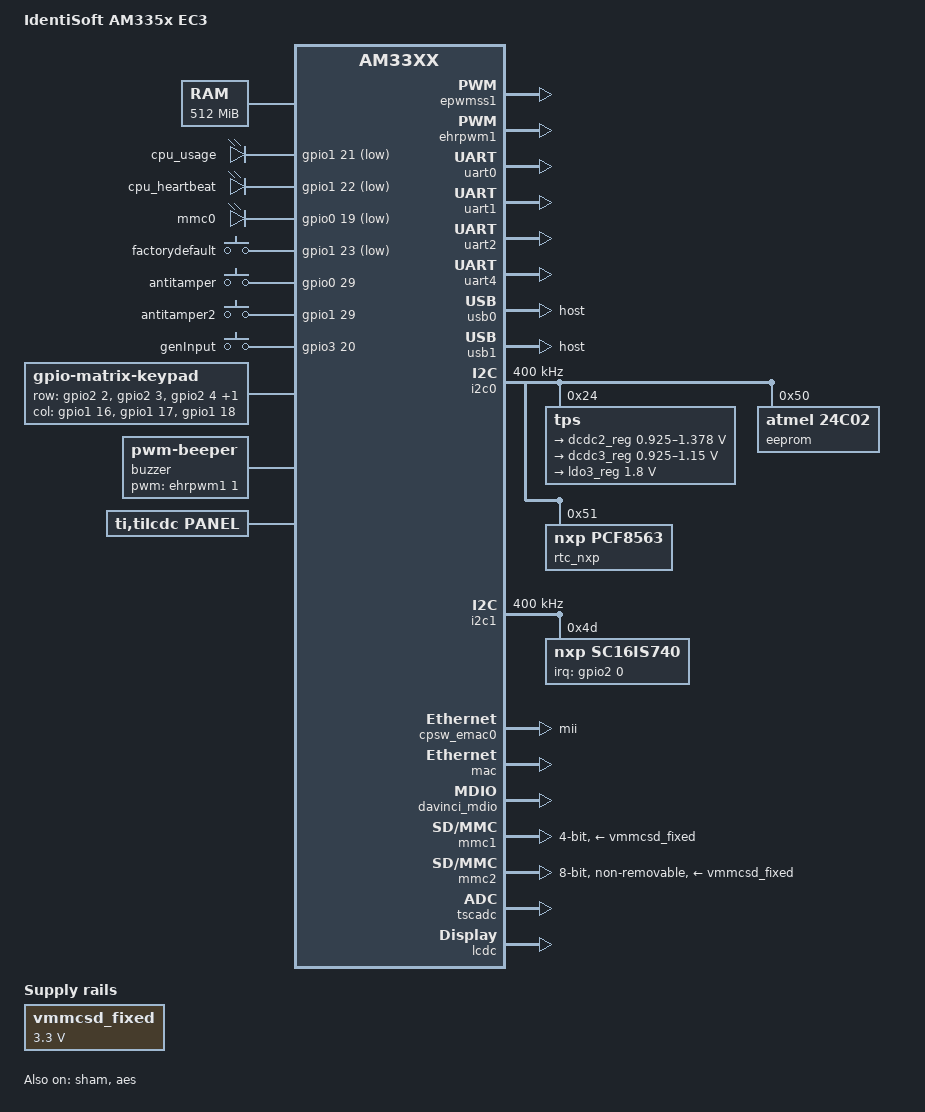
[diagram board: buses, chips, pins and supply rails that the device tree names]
/*
 * Copyright (C) 2022 Impro Technologies http://www.impro.net/
 *
 * This program is free software; you can redistribute it and/or modify
 * it under the terms of the GNU General Public License version 2 as
 * published by the Free Software Foundation.
 */
/dts-v1/;

#include "am33xx.dtsi"
#include <dt-bindings/interrupt-controller/irq.h>

/ {
	model = "IdentiSoft AM335x EC3";
	compatible = "ti,am33xx";

	aliases {
		mmcblk0 = &mmc1;
		mmcblk1 = &mmc2;
	};

	cpus {
		cpu@0 {
			cpu0-supply = <&dcdc2_reg>;
		};
	};

	memory@80000000 {
		device_type = "memory";
		reg = <0x80000000 0x20000000>; /* 512 MB */
	};

	leds {
		compatible = "gpio-leds";
		pinctrl-names = "default";
		pinctrl-0 = <&user_leds_pin>;

		cpu_usage {
			gpios = <&gpio1 21 GPIO_ACTIVE_LOW>;
			linux,default-trigger = "cpu0";
			default-state = "off";
		};

		cpu_heartbeat {
			gpios = <&gpio1 22 GPIO_ACTIVE_LOW>;
			linux,default-trigger = "heartbeat";
			default-state = "off";
		};

		mmc0 {
			gpios = <&gpio0 19 GPIO_ACTIVE_LOW>;
			linux,default-trigger = "mmc0";
			default-state = "off";
		};
	};

	factoryDefault {
		compatible = "gpio-keys";
		pinctrl-names = "default";
		pinctrl-0 = <&button1_pin>;

		factorydefault {
			gpios = <&gpio1 23 GPIO_ACTIVE_LOW>;
			linux,code = <70>;
			debounce-interval = <5>; // was 200
		};
	};

	antiTamper {
		compatible = "gpio-keys";
		pinctrl-names = "default";
		pinctrl-0 = <&button2_pin>;

		antitamper {
			gpios = <&gpio0 29 GPIO_ACTIVE_HIGH>;
			linux,code = <65>;
			debounce-interval = <5>; // was 200
		};
	};

	antiTamper2 {
		compatible = "gpio-keys";
		pinctrl-names = "default";
		pinctrl-0 = <&button3_pin>;

		antitamper2 {
			gpios = <&gpio1 29 GPIO_ACTIVE_HIGH>;
			linux,code = <66>;
			debounce-interval = <5>; // was 200
		};
	};

	genInput {
		compatible = "gpio-keys";
		pinctrl-names = "default";
		pinctrl-0 = <&button4_pin>;

		genInput {
			gpios = <&gpio3 20 GPIO_ACTIVE_HIGH>;
			linux,code = <73>;
			debounce-interval = <5>; // was 200
		};
	};


	keypad {
		compatible = "gpio-matrix-keypad";
		linux,no-autorepeat;
		debounce-delay-ms = <10>;
		col-scan-delay-us = <20>;
		/* Pull down resistors*/
		row-gpios = <&gpio2 2 GPIO_ACTIVE_HIGH    /* Row 1 */
				         &gpio2 3 GPIO_ACTIVE_HIGH    /* Row 2 */
				         &gpio2 4 GPIO_ACTIVE_HIGH	  /* Row 3 */
				         &gpio2 5 GPIO_ACTIVE_HIGH>;  /* Row 4 */

		col-gpios = <&gpio1 16 GPIO_ACTIVE_HIGH   /* Col 1 */
				         &gpio1 17 GPIO_ACTIVE_HIGH	  /* Col 2 */
								 &gpio1 18 GPIO_ACTIVE_HIGH>; /* Col 3 */
								 /* 0xRRCCKKKK*/
		linux,keymap = <0x00000002		/* 1 */
										0x00010003		/* 2 */
										0x00020004		/* 3 */
										0x01000005		/* 4 */
										0x01010006		/* 5 */
										0x01020007		/* 6 */
										0x02000008		/* 7 */
										0x02010009		/* 8 */
										0x0202000A		/* 9 */
										0x0300000E		/* * (BACKSPACE)*/
										0x0301000B		/* 0 */
										0x0302001C>; 	/* # (ENTER)*/
	};

	buzzer {
		compatible = "pwm-beeper";
		pinctrl-names = "default";
		pinctrl-0 = <&buzzer_pin>;
		pwms = <&ehrpwm1 1 250000 0>;
	};

	panel {
		compatible = "ti,tilcdc,panel";
		pinctrl-names = "default";
		pinctrl-0 = <&lcd_pins>;
		status = "okay";
		panel-info {
			ac-bias           = <255>;
			ac-bias-intrpt    = <0>;
			dma-burst-sz      = <16>;
			bpp               = <24>;
			fdd               = <0x80>;
			sync-edge         = <0>;
			sync-ctrl         = <1>;
			raster-order      = <0>;
			fifo-th           = <0>;
			invert-pxl-clk;
		};
		/* HX8257A */
		display-timings {
      480x272 {
				hactive         = <480>;
				vactive         = <272>;
				hback-porch     = <2>;
				hfront-porch    = <2>;
				hsync-len       = <41>;
				vback-porch     = <2>;
				vfront-porch    = <2>;
				vsync-len       = <10>;
/*				clock-frequency = <12000000>; */
				clock-frequency = <9000000>; /* 9MHz should start up pll, which can then be enabled to jitter the frequency */
				hsync-active    = <0>;
				vsync-active    = <0>;
			};
		};
	};

	bandgap {
		reg = <0x44e10448 0x4 0x44e1044C 0x4>;
		compatible = "ti,omap4430-bandgap";
	};

	vmmcsd_fixed: fixedregulator@0 {
		compatible = "regulator-fixed";
		regulator-name = "vmmcsd_fixed";
		regulator-min-microvolt = <3300000>;
		regulator-max-microvolt = <3300000>;
	};
};

&am33xx_pinmux {
	pinctrl-names = "default";
	pinctrl-0 = <&extcon_pins>;
	status = "okay";

	user_leds_pin: pinmux_user_leds_pin {
		pinctrl-single,pins = <
			AM33XX_PADCONF(AM335X_PIN_GPMC_A5, PIN_OUTPUT_PULLUP, MUX_MODE7)
			AM33XX_PADCONF(AM335X_PIN_GPMC_A6, PIN_OUTPUT_PULLDOWN, MUX_MODE7)
			AM33XX_PADCONF(AM335X_PIN_XDMA_EVENT_INTR0, PIN_OUTPUT_PULLUP, MUX_MODE7)
		>;
	};


	button1_pin: pinmux_button1_pin {
		pinctrl-single,pins = <
            AM33XX_PADCONF(AM335X_PIN_GPMC_A7, PIN_INPUT_PULLUP, MUX_MODE7)	/* gpmc_a7.gpio1_23 */
		>;
	};

	button2_pin: pinmux_button2_pin {
		pinctrl-single,pins = <
			AM33XX_PADCONF(AM335X_PIN_RMII1_REF_CLK, PIN_INPUT_PULLUP, MUX_MODE7)	/* rmii2_refclk.gpio0_29 */
		>;
	};

	button3_pin: pinmux_button3_pin {
		pinctrl-single,pins = <
			AM33XX_PADCONF(AM335X_PIN_GPMC_CSN0, PIN_INPUT_PULLUP, MUX_MODE7)	/* gpmc_csn0.gpio1_29 */
		>;
	};

	button4_pin: pinmux_button4_pin {
		pinctrl-single,pins = <
			AM33XX_PADCONF(AM335X_PIN_MCASP0_AXR1, PIN_INPUT_PULLUP, MUX_MODE7)
		>;
	};

	buzzer_pin: pinmux_buzzer_pin {
		pinctrl-single,pins = <
			AM33XX_PADCONF(AM335X_PIN_GPMC_A3, PIN_OUTPUT_PULLUP, MUX_MODE6)	/* gpmc_a3.ehrpwm1b */
		>;
	};

	lcd_pins: pinmux_lcd_pins {
		pinctrl-single,pins = <
			AM33XX_PADCONF(AM335X_PIN_GPMC_AD8, PIN_OUTPUT, MUX_MODE1)	/* gpmc_ad8.lcd_data23 */
			AM33XX_PADCONF(AM335X_PIN_GPMC_AD9, PIN_OUTPUT, MUX_MODE1)	/* gpmc_ad9.lcd_data22 */
			AM33XX_PADCONF(AM335X_PIN_GPMC_AD10, PIN_OUTPUT, MUX_MODE1)	/* gpmc_ad10.lcd_data21 */
			AM33XX_PADCONF(AM335X_PIN_GPMC_AD11, PIN_OUTPUT, MUX_MODE1)	/* gpmc_ad11.lcd_data20 */
			AM33XX_PADCONF(AM335X_PIN_GPMC_AD12, PIN_OUTPUT, MUX_MODE1)	/* gpmc_ad12.lcd_data19 */
			AM33XX_PADCONF(AM335X_PIN_GPMC_AD13, PIN_OUTPUT, MUX_MODE1)	/* gpmc_ad13.lcd_data18 */
			AM33XX_PADCONF(AM335X_PIN_GPMC_AD14, PIN_OUTPUT, MUX_MODE1)	/* gpmc_ad14.lcd_data17 */
			AM33XX_PADCONF(AM335X_PIN_GPMC_AD15, PIN_OUTPUT, MUX_MODE1)	/* gpmc_ad15.lcd_data16 */
			AM33XX_PADCONF(AM335X_PIN_LCD_DATA0, PIN_OUTPUT, MUX_MODE0)
			AM33XX_PADCONF(AM335X_PIN_LCD_DATA1, PIN_OUTPUT, MUX_MODE0)
			AM33XX_PADCONF(AM335X_PIN_LCD_DATA2, PIN_OUTPUT, MUX_MODE0)
			AM33XX_PADCONF(AM335X_PIN_LCD_DATA3, PIN_OUTPUT, MUX_MODE0)
			AM33XX_PADCONF(AM335X_PIN_LCD_DATA4, PIN_OUTPUT, MUX_MODE0)
			AM33XX_PADCONF(AM335X_PIN_LCD_DATA5, PIN_OUTPUT, MUX_MODE0)
			AM33XX_PADCONF(AM335X_PIN_LCD_DATA6, PIN_OUTPUT, MUX_MODE0)
			AM33XX_PADCONF(AM335X_PIN_LCD_DATA7, PIN_OUTPUT, MUX_MODE0)
			AM33XX_PADCONF(AM335X_PIN_LCD_DATA8, PIN_OUTPUT, MUX_MODE0)
			AM33XX_PADCONF(AM335X_PIN_LCD_DATA9, PIN_OUTPUT, MUX_MODE0)
			AM33XX_PADCONF(AM335X_PIN_LCD_DATA10, PIN_OUTPUT, MUX_MODE0)
			AM33XX_PADCONF(AM335X_PIN_LCD_DATA11, PIN_OUTPUT, MUX_MODE0)
			AM33XX_PADCONF(AM335X_PIN_LCD_DATA12, PIN_OUTPUT, MUX_MODE0)
			AM33XX_PADCONF(AM335X_PIN_LCD_DATA13, PIN_OUTPUT, MUX_MODE0)
			AM33XX_PADCONF(AM335X_PIN_LCD_DATA14, PIN_OUTPUT, MUX_MODE0)
			AM33XX_PADCONF(AM335X_PIN_LCD_DATA15, PIN_OUTPUT, MUX_MODE0)
			AM33XX_PADCONF(AM335X_PIN_LCD_VSYNC, PIN_OUTPUT, MUX_MODE0)
			AM33XX_PADCONF(AM335X_PIN_LCD_HSYNC, PIN_OUTPUT, MUX_MODE0)
			AM33XX_PADCONF(AM335X_PIN_LCD_PCLK, PIN_OUTPUT, MUX_MODE0)
			AM33XX_PADCONF(AM335X_PIN_LCD_AC_BIAS_EN, PIN_OUTPUT, MUX_MODE0)
		>;
	};

	extcon_pins: pinmux_extcon_pins { /* External Connectors */
		pinctrl-single,pins = <
			AM33XX_PADCONF(AM335X_PIN_GPMC_A0, PIN_INPUT_PULLUP, MUX_MODE7)	/* gpmc_a0.rgmii2_tctl */
			AM33XX_PADCONF(AM335X_PIN_GPMC_A1, PIN_INPUT_PULLUP, MUX_MODE7)	/* gpmc_a1.rgmii2_rctl */
			AM33XX_PADCONF(AM335X_PIN_GPMC_A2, PIN_INPUT_PULLUP, MUX_MODE7)	/* gpmc_a2.rgmii2_td3 */
			AM33XX_PADCONF(AM335X_PIN_GPMC_A4, PIN_INPUT_PULLUP, MUX_MODE7)	/* gpmc_a4.rgmii2_td1 */
			AM33XX_PADCONF(AM335X_PIN_GPMC_A8, PIN_INPUT_PULLUP, MUX_MODE7)	/* gpmc_a8.rgmii2_rd3 */
			AM33XX_PADCONF(AM335X_PIN_GPMC_A9, PIN_INPUT_PULLUP, MUX_MODE7)	/* gpmc_a9.rgmii2_rd2 */
			AM33XX_PADCONF(AM335X_PIN_GPMC_A10, PIN_INPUT_PULLUP, MUX_MODE7)	/* gpmc_a10.rgmii2_rd1 */
			AM33XX_PADCONF(AM335X_PIN_GPMC_A11, PIN_INPUT_PULLUP, MUX_MODE7)	/* gpmc_a11.rgmii2_rd0 */

			AM33XX_PADCONF(AM335X_PIN_GPMC_BEN1, PIN_INPUT_PULLUP, MUX_MODE7)

			AM33XX_PADCONF(AM335X_PIN_GPMC_ADVN_ALE, PIN_INPUT_PULLUP, MUX_MODE7)		/* gpmc_advn_ale.gpio2_2 */
			AM33XX_PADCONF(AM335X_PIN_GPMC_OEN_REN, PIN_INPUT_PULLUP, MUX_MODE7)		/* gpmc_oen_ren.gpio2_3 */
            AM33XX_PADCONF(AM335X_PIN_GPMC_WEN, PIN_INPUT_PULLUP, MUX_MODE7)
			AM33XX_PADCONF(AM335X_PIN_GPMC_BEN0_CLE, PIN_INPUT_PULLUP, MUX_MODE7)		/* gpmc_ben0_cle.gpio2_5 */
			AM33XX_PADCONF(AM335X_PIN_ECAP0_IN_PWM0_OUT, PIN_INPUT_PULLUP, MUX_MODE7)	/* ecap0_in_pwm0_out.uart3_txd */
			AM33XX_PADCONF(AM335X_PIN_UART1_CTSN, PIN_INPUT_PULLUP, MUX_MODE7)		/* uart1_ctsn.d_can0_tx */
			AM33XX_PADCONF(AM335X_PIN_UART1_RTSN, PIN_INPUT_PULLUP, MUX_MODE7)		/* uart1_rtsn.d_can0_rx */
			AM33XX_PADCONF(AM335X_PIN_MCASP0_ACLKX, PIN_INPUT_PULLUP, MUX_MODE7)		/* mcasp0_aclkx.gpio3_14 *
			AM33XX_PADCONF(AM335X_PIN_MCASP0_FSX, PIN_INPUT_PULLUP, MUX_MODE7)		/* mcasp0_fsx.gpio3_15 */
			AM33XX_PADCONF(AM335X_PIN_MCASP0_AXR0, PIN_INPUT_PULLUP, MUX_MODE7)		/* mcasp0_axr0.spi1_d1 */
			AM33XX_PADCONF(AM335X_PIN_MCASP0_AHCLKR, PIN_INPUT_PULLUP, MUX_MODE7)		/* mcasp0_ahclkr.spi1_cs0 */
			AM33XX_PADCONF(AM335X_PIN_MCASP0_ACLKR, PIN_INPUT_PULLUP, MUX_MODE7)		/* SoundPA_en - mcasp0_aclkr.gpio3_18 */
			AM33XX_PADCONF(AM335X_PIN_MCASP0_FSR, PIN_INPUT_PULLUP, MUX_MODE7)

			//0x1a8	(PIN_INPUT_PULLUP | MUX_MODE7)	/* mcasp0_axr1.gpio3_20	(mcasp0_axr1) */
			//AM33XX_PADCONF(AM335X_PIN_MCASP0_AXR1, PIN_INPUT_PULLUP, MUX_MODE7)

			AM33XX_PADCONF(AM335X_PIN_MCASP0_AHCLKX, PIN_INPUT_PULLUP, MUX_MODE7)		/* mcasp0_ahcklx.gpio3_21 */
		>;
	};

	i2c0_pins: pinmux_i2c0_pins {
		pinctrl-single,pins = <
            AM33XX_PADCONF(AM335X_PIN_I2C0_SDA, PIN_INPUT_PULLUP, MUX_MODE0)	/* i2c0_sda.i2c0_sda */
            AM33XX_PADCONF(AM335X_PIN_I2C0_SCL, PIN_INPUT_PULLUP, MUX_MODE0)	/* i2c0_scl.i2c0_scl */
		>;
	};

	i2c1_pins: pinmux_i2c1_pins {
		pinctrl-single,pins = <
            AM33XX_PADCONF(AM335X_PIN_SPI0_D1, PIN_INPUT_PULLUP, MUX_MODE2)	    /* spi0_d1.i2c1_sda */
            AM33XX_PADCONF(AM335X_PIN_SPI0_CS0, PIN_INPUT_PULLUP, MUX_MODE2)	/* spi0_cs0.i2c1_scl */
		>;
	};

	uart0_pins: pinmux_uart0_pins {
		pinctrl-single,pins = <
            AM33XX_PADCONF(AM335X_PIN_UART0_RXD, PIN_INPUT_PULLUP, MUX_MODE0)
            AM33XX_PADCONF(AM335X_PIN_UART0_TXD, PIN_OUTPUT_PULLDOWN, MUX_MODE0)
		>;
	};

	uart1_pins: pinmux_uart1_pins {
		pinctrl-single,pins = <
            AM33XX_PADCONF(AM335X_PIN_UART1_RXD, PIN_INPUT_PULLUP, MUX_MODE0)
            AM33XX_PADCONF(AM335X_PIN_UART1_TXD, PIN_OUTPUT_PULLDOWN, MUX_MODE0)
		>;
	};

	uart2_pins: pinmux_uart2_pins {
		pinctrl-single,pins = <
            AM33XX_PADCONF(AM335X_PIN_SPI0_SCLK, PIN_INPUT_PULLUP, MUX_MODE1)		/* spi0_sclk.uart2_rxd */
            AM33XX_PADCONF(AM335X_PIN_SPI0_D0, PIN_OUTPUT_PULLDOWN, MUX_MODE1)		/* spi0_d0.uart2_txd */
		>;
	};

	uart4_pins: pinmux_uart4_pins {
		pinctrl-single,pins = <
            AM33XX_PADCONF(AM335X_PIN_GPMC_WAIT0, PIN_INPUT_PULLUP, MUX_MODE6)	/* gpmc_wait0.uart4_rxd */
            AM33XX_PADCONF(AM335X_PIN_GPMC_WPN, PIN_OUTPUT_PULLDOWN, MUX_MODE6)	/* gpmc_wpn.uart4_txd */
		>;
	};


	cpsw_default: cpsw_default {
		pinctrl-single,pins = <
			/* Slave 1 */
			AM33XX_PADCONF(AM335X_PIN_MII1_COL, PIN_INPUT_PULLUP, MUX_MODE0)
			AM33XX_PADCONF(AM335X_PIN_MII1_CRS, PIN_INPUT_PULLUP, MUX_MODE0)
			AM33XX_PADCONF(AM335X_PIN_MII1_RX_ER, PIN_INPUT_PULLUP, MUX_MODE0)
			AM33XX_PADCONF(AM335X_PIN_MII1_TX_EN, PIN_OUTPUT_PULLDOWN, MUX_MODE0)
			AM33XX_PADCONF(AM335X_PIN_MII1_RX_DV, PIN_INPUT_PULLUP, MUX_MODE0)
			AM33XX_PADCONF(AM335X_PIN_MII1_TXD3, PIN_OUTPUT_PULLDOWN, MUX_MODE0)
			AM33XX_PADCONF(AM335X_PIN_MII1_TXD2, PIN_OUTPUT_PULLDOWN, MUX_MODE0)
			AM33XX_PADCONF(AM335X_PIN_MII1_TXD1, PIN_OUTPUT_PULLDOWN, MUX_MODE0)
			AM33XX_PADCONF(AM335X_PIN_MII1_TXD0, PIN_OUTPUT_PULLDOWN, MUX_MODE0)
			AM33XX_PADCONF(AM335X_PIN_MII1_TX_CLK, PIN_INPUT_PULLUP, MUX_MODE0)
			AM33XX_PADCONF(AM335X_PIN_MII1_RX_CLK, PIN_INPUT_PULLUP, MUX_MODE0)
			AM33XX_PADCONF(AM335X_PIN_MII1_RXD3, PIN_INPUT_PULLUP, MUX_MODE0)
			AM33XX_PADCONF(AM335X_PIN_MII1_RXD2, PIN_INPUT_PULLUP, MUX_MODE0)
			AM33XX_PADCONF(AM335X_PIN_MII1_RXD1, PIN_INPUT_PULLUP, MUX_MODE0)
			AM33XX_PADCONF(AM335X_PIN_MII1_RXD0, PIN_INPUT_PULLUP, MUX_MODE0)
		>;
	};

	cpsw_sleep: cpsw_sleep {
		pinctrl-single,pins = <
			/* Slave 1 reset value */
			AM33XX_PADCONF(AM335X_PIN_MII1_COL, PIN_INPUT_PULLDOWN, MUX_MODE7)
			AM33XX_PADCONF(AM335X_PIN_MII1_CRS, PIN_INPUT_PULLDOWN, MUX_MODE7)
			AM33XX_PADCONF(AM335X_PIN_MII1_RX_ER, PIN_INPUT_PULLDOWN, MUX_MODE7)
			AM33XX_PADCONF(AM335X_PIN_MII1_TX_EN, PIN_INPUT_PULLDOWN, MUX_MODE7)
			AM33XX_PADCONF(AM335X_PIN_MII1_RX_DV, PIN_INPUT_PULLDOWN, MUX_MODE7)
			AM33XX_PADCONF(AM335X_PIN_MII1_TXD3, PIN_INPUT_PULLDOWN, MUX_MODE7)
			AM33XX_PADCONF(AM335X_PIN_MII1_TXD2, PIN_INPUT_PULLDOWN, MUX_MODE7)
			AM33XX_PADCONF(AM335X_PIN_MII1_TXD1, PIN_INPUT_PULLDOWN, MUX_MODE7)
			AM33XX_PADCONF(AM335X_PIN_MII1_TXD0, PIN_INPUT_PULLDOWN, MUX_MODE7)
			AM33XX_PADCONF(AM335X_PIN_MII1_TX_CLK, PIN_INPUT_PULLDOWN, MUX_MODE7)
			AM33XX_PADCONF(AM335X_PIN_MII1_RX_CLK, PIN_INPUT_PULLDOWN, MUX_MODE7)
			AM33XX_PADCONF(AM335X_PIN_MII1_RXD3, PIN_INPUT_PULLDOWN, MUX_MODE7)
			AM33XX_PADCONF(AM335X_PIN_MII1_RXD2, PIN_INPUT_PULLDOWN, MUX_MODE7)
			AM33XX_PADCONF(AM335X_PIN_MII1_RXD1, PIN_INPUT_PULLDOWN, MUX_MODE7)
			AM33XX_PADCONF(AM335X_PIN_MII1_RXD0, PIN_INPUT_PULLDOWN, MUX_MODE7)
		>;
	};

	davinci_mdio_default: davinci_mdio_default {
		pinctrl-single,pins = <
			/* MDIO */
            AM33XX_PADCONF(AM335X_PIN_MDIO, PIN_INPUT_PULLUP | SLEWCTRL_FAST, MUX_MODE0)	/* mdio_data.mdio_data */
            AM33XX_PADCONF(AM335X_PIN_MDC, PIN_OUTPUT_PULLUP, MUX_MODE0)			        /* mdio_clk.mdio_clk   */
		>;
	};

	davinci_mdio_sleep: davinci_mdio_sleep {
		pinctrl-single,pins = <
			/* MDIO reset value */
            AM33XX_PADCONF(AM335X_PIN_MDIO, PIN_INPUT_PULLDOWN, MUX_MODE7)	/* mdio_data.mdio_data */
            AM33XX_PADCONF(AM335X_PIN_MDC, PIN_INPUT_PULLDOWN, MUX_MODE7)   /* mdio_clk.mdio_clk   */
		>;
	};

	mmc1_pins: pinmux_mmc1_pins {
		pinctrl-single,pins = <
            AM33XX_PADCONF(AM335X_PIN_SPI0_CS1, PIN_INPUT, MUX_MODE7) 	/* spi0_cs1.gpio0_6 */
			AM33XX_PADCONF(AM335X_PIN_MMC0_DAT0, PIN_INPUT_PULLUP, MUX_MODE0)
			AM33XX_PADCONF(AM335X_PIN_MMC0_DAT1, PIN_INPUT_PULLUP, MUX_MODE0)
			AM33XX_PADCONF(AM335X_PIN_MMC0_DAT2, PIN_INPUT_PULLUP, MUX_MODE0)
			AM33XX_PADCONF(AM335X_PIN_MMC0_DAT3, PIN_INPUT_PULLUP, MUX_MODE0)
			AM33XX_PADCONF(AM335X_PIN_MMC0_CMD, PIN_INPUT_PULLUP, MUX_MODE0)
			AM33XX_PADCONF(AM335X_PIN_MMC0_CLK, PIN_INPUT_PULLUP, MUX_MODE0)
		>;
	};

	emmc_pins: pinmux_emmc_pins {
		pinctrl-single,pins = <
			AM33XX_PADCONF(AM335X_PIN_GPMC_AD0, PIN_INPUT_PULLUP, MUX_MODE1) /* gpmc_ad0.mmc1_dat0 */
			AM33XX_PADCONF(AM335X_PIN_GPMC_AD1, PIN_INPUT_PULLUP, MUX_MODE1) /* gpmc_ad1.mmc1_dat1 */
			AM33XX_PADCONF(AM335X_PIN_GPMC_AD2, PIN_INPUT_PULLUP, MUX_MODE1) /* gpmc_ad2.mmc1_dat2 */
			AM33XX_PADCONF(AM335X_PIN_GPMC_AD3, PIN_INPUT_PULLUP, MUX_MODE1) /* gpmc_ad3.mmc1_dat3 */
			AM33XX_PADCONF(AM335X_PIN_GPMC_AD4, PIN_INPUT_PULLUP, MUX_MODE1) /* gpmc_ad4.mmc1_dat4 */
			AM33XX_PADCONF(AM335X_PIN_GPMC_AD5, PIN_INPUT_PULLUP, MUX_MODE1) /* gpmc_ad5.mmc1_dat5 */
			AM33XX_PADCONF(AM335X_PIN_GPMC_AD6, PIN_INPUT_PULLUP, MUX_MODE1) /* gpmc_ad6.mmc1_dat6 */
			AM33XX_PADCONF(AM335X_PIN_GPMC_AD7, PIN_INPUT_PULLUP, MUX_MODE1) /* gpmc_ad7.mmc1_dat7 */
			AM33XX_PADCONF(AM335X_PIN_GPMC_CSN1, PIN_INPUT_PULLUP, MUX_MODE2) /* gpmc_csn1.mmc1_clk */
			AM33XX_PADCONF(AM335X_PIN_GPMC_CSN2, PIN_INPUT_PULLUP, MUX_MODE2) /* gpmc_csn2.mmc1_cmd */
		>;
	};
};

&sham {
	status = "okay";
};

&aes {
	status = "okay";
};

&prcm_clocks {
	sc16is7xx_clk: sc16is7xx_clk {
		compatible = "fixed-clock";
		#clock-cells = <0>;
		clock-frequency = <11059200>;
	};
};

&epwmss1 {
	status = "okay";
};

&ehrpwm1 {
	status = "okay";
};

/* Console */
&uart0 {
	pinctrl-names = "default";
	pinctrl-0 = <&uart0_pins>;
	status = "okay";
};

/* This is the SBus port */
/* Used RS485 mode to suppress the TX echo */
/* Used the buzzer pin for rts which is muxed for pwm */
&uart1 {
	pinctrl-names = "default";
	pinctrl-0 = <&uart1_pins>;
	linux,rs485-enabled-at-boot-time;
	rs485-rts-delay = <0 0>;
	rs485-rts-active-high;
	rts-gpio = <&gpio1 19 GPIO_ACTIVE_HIGH>;
	status = "okay";
};

/* External connector */
&uart2 {
	pinctrl-names = "default";
	pinctrl-0 = <&uart2_pins>;
	status = "okay";
};

/* LCD connector */
&uart4 {
	pinctrl-names = "default";
	pinctrl-0 = <&uart4_pins>;
	status = "okay";
};


&usb0 {
/**	status = "okay";  **/
	dr_mode = "host";
};

&usb1 {
/**	status = "okay"; **/
	dr_mode = "host";
};


&i2c0 {
	pinctrl-names = "default";
	pinctrl-0 = <&i2c0_pins>;
	clock-frequency = <400000>;
	status = "okay";

	tps: tps@24 {
		reg = <0x24>;
	};

	eeprom: eeprom@50 {
		compatible = "atmel,24c02";
		reg = <0x50>;
		pagesize = <8>;
	};

	rtc_nxp: rtc@51 {
		compatible = "nxp,pcf8563";
		reg = <0x51>;
	};
};

&i2c1 {
	pinctrl-names = "default";
	pinctrl-0 = <&i2c1_pins>;
	clock-frequency = <400000>;
	status = "okay";

	sc16is740: sc16is740@4d {
		compatible = "nxp,sc16is740";
		reg = <0x4d>;
		clocks = <&sc16is7xx_clk>;
		interrupt-parent = <&gpio2>;
		interrupts = <0 IRQ_TYPE_EDGE_FALLING>;
	};
};

/include/ "tps65217.dtsi"

&tps {

	pmic {
		compatible = "ti,tps65217-pmic";
		status = "disabled";
	};

	bl {
		compatible = "ti,tps65217-bl";
		status = "disabled";
	};

	regulators {
		dcdc1_reg: regulator@0 {
			regulator-always-on;
		};

		dcdc2_reg: regulator@1 {
			/* VDD_MPU voltage limits 0.95V - 1.325V with +/-4% tolerance */
			regulator-name = "vdd_mpu";
			regulator-min-microvolt = <925000>;
			regulator-max-microvolt = <1378000>;
			regulator-boot-on;
			regulator-always-on;
		};

		dcdc3_reg: regulator@2 {
			/* VDD_CORE voltage limits 0.95V - 1.1V with +/-4% tolerance */
			regulator-name = "vdd_core";
			regulator-min-microvolt = <925000>;
			regulator-max-microvolt = <1150000>;
			regulator-boot-on;
			regulator-always-on;
		};

		ldo1_reg: regulator@3 {
			regulator-always-on;
		};

		ldo2_reg: regulator@4 {
			regulator-always-on;
		};

		ldo3_reg: regulator@5 {
			regulator-min-microvolt = <1800000>;
			regulator-max-microvolt = <1800000>;
			regulator-always-on;
		};

		ldo4_reg: regulator@6 {
			regulator-always-on;
		};
	};
};

&cpsw_emac0 {
	phy_id = <&davinci_mdio>, <1>;
	phy-mode = "mii";
};

&mac {
	pinctrl-names = "default", "sleep";
	pinctrl-0 = <&cpsw_default>;
	pinctrl-1 = <&cpsw_sleep>;
	slaves = <1>;
	status = "okay";
};

&davinci_mdio {
	pinctrl-names = "default", "sleep";
	pinctrl-0 = <&davinci_mdio_default>;
	pinctrl-1 = <&davinci_mdio_sleep>;
	status = "okay";
};

&mmc1 {
	pinctrl-names = "default";
	pinctrl-0 = <&mmc1_pins>;
	status = "okay";
	bus-width = <0x4>;
	broken-cd;
	// cd-gpios = <&gpio0 6 GPIO_ACTIVE_HIGH>;
	// cd-inverted;
 	// max-frequency = <100000000>;
	debounce-interval = <5>; // was not specified before
	vmmc-supply = <&vmmcsd_fixed>;
};

&mmc2 {
	pinctrl-names = "default";
	pinctrl-0 = <&emmc_pins>;
	status = "okay";
	bus-width = <0x8>;
	vmmc-supply = <&vmmcsd_fixed>;
	non-removable;
};


&tscadc {
	status = "okay";
	tsc {
		ti,wires = <4>;
		ti,x-plate-resistance = <200>;
		ti,coordinate-readouts = <5>;
		ti,wire-config = <0x00 0x11 0x22 0x33>;
		ti,charge-delay = <0x400>;
	};

	adc {
		ti,adc-channels = <4 5 6 7>;
	};
};

&lcdc {
	status = "okay";
/*	blue-and-red-wiring = "straight"; */
/*	blue-and-red-wiring = "crossed";  */
};

